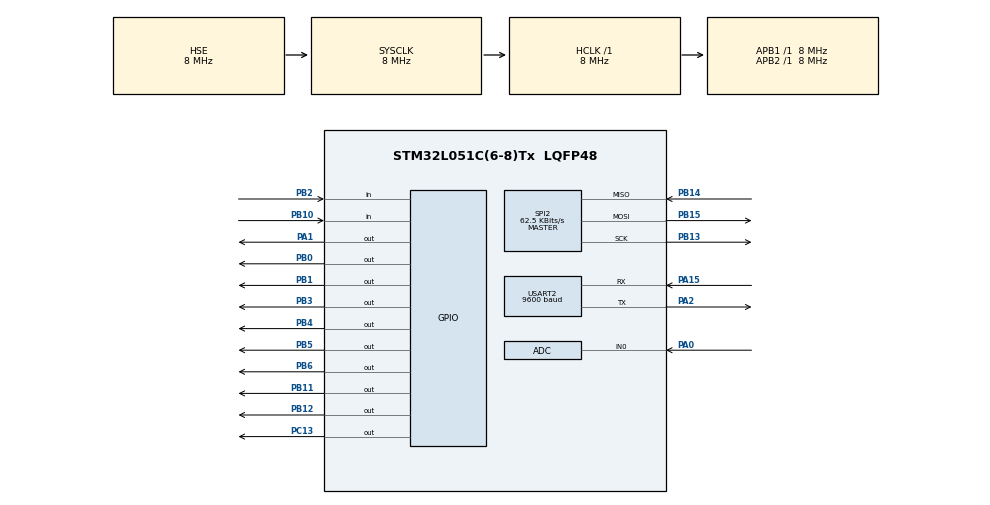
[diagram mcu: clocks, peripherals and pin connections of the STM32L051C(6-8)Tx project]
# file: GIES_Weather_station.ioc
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ADC.ContinuousConvMode=ENABLE
ADC.LowPowerAutoPowerOff=ENABLE
ADC.Overrun=ADC_OVR_DATA_OVERWRITTEN
ADC.SamplingTime=ADC_SAMPLETIME_79CYCLES_5
IWDG.Prescaler=IWDG_PRESCALER_256
IWDG.Reload=4095
Mcu.Family=STM32L0
Mcu.Name=STM32L051C(6-8)Tx
Mcu.Package=LQFP48
NVIC.RTC_IRQn=true\:0\:0\:true\:true\:true\:1\:true
NVIC.SPI2_IRQn=true\:0\:0\:true\:false\:true\:true
NVIC.USART2_IRQn=true\:0\:0\:false\:true\:true\:2\:true
PA0.Mode=IN0
PA0.Signal=ADC_IN0
PA1.PinState=GPIO_PIN_RESET
PA1.Signal=GPIO_Output
PA13.Mode=Serial_Wire
PA13.Signal=SYS_SWDIO
PA14.Mode=Serial_Wire
PA14.Signal=SYS_SWCLK
PA15.GPIO_ModeDefaultPP=GPIO_MODE_AF_OD
PA15.Mode=Asynchronous
PA15.Signal=USART2_RX
PA2.Mode=Asynchronous
PA2.Signal=USART2_TX
PB0.PinState=GPIO_PIN_RESET
PB0.Signal=GPIO_Output
PB1.Signal=GPIO_Output
PB10.Signal=GPIO_Input
PB11.PinState=GPIO_PIN_SET
PB11.Signal=GPIO_Output
PB12.PinState=GPIO_PIN_SET
PB12.Signal=GPIO_Output
PB13.Mode=Full_Duplex_Master
PB13.Signal=SPI2_SCK
PB14.Mode=Full_Duplex_Master
PB14.Signal=SPI2_MISO
PB15.Mode=Full_Duplex_Master
PB15.Signal=SPI2_MOSI
PB2.Signal=GPIO_Input
PB3.GPIO_ModeDefaultOutputPP=GPIO_MODE_OUTPUT_OD
PB3.Signal=GPIO_Output
PB4.GPIO_ModeDefaultOutputPP=GPIO_MODE_OUTPUT_OD
PB4.Signal=GPIO_Output
PB5.GPIO_ModeDefaultOutputPP=GPIO_MODE_OUTPUT_OD
PB5.PinState=GPIO_PIN_SET
PB5.Signal=GPIO_Output
PB6.GPIO_FM6=__NULL
PB6.GPIO_ModeDefaultOutputPP=GPIO_MODE_OUTPUT_OD
PB6.PinState=GPIO_PIN_SET
PB6.Signal=GPIO_Output
PC13.Signal=GPIO_Output
PH0-OSC_IN.Mode=HSE-External-Oscillator
PH0-OSC_IN.Signal=RCC_OSC_IN
PH1-OSC_OUT.Mode=HSE-External-Oscillator
PH1-OSC_OUT.Signal=RCC_OSC_OUT
ProjectManager.HeapSize=0x200
ProjectManager.StackSize=0x400
ProjectManager.TargetToolchain=MDK-ARM V5
RCC.ADCFreq_Value=4000000
RCC.AHBFreq_Value=8000000
RCC.APB1Freq_Value=8000000
RCC.APB1TimFreq_Value=8000000
RCC.APB2Freq_Value=8000000
RCC.APB2TimFreq_Value=8000000
RCC.HCLKFreq_Value=8000000
RCC.HSE_VALUE=8000000
RCC.HSI16_VALUE=16000000
RCC.HSIRCDiv=4
RCC.HSI_VALUE=4000000
RCC.MSIClockRange=RCC_MSIRANGE_6
RCC.MSI_VALUE=4194000
RCC.PLLDIV=RCC_PLLDIV_4
RCC.PLLMUL=RCC_PLLMUL_8
RCC.PLLSourceVirtual=RCC_PLLSOURCE_HSE
RCC.PWR_Regulator_Voltage_Scale=PWR_REGULATOR_VOLTAGE_SCALE1
RCC.RTCClockSelection=RCC_RTCCLKSOURCE_LSI
RCC.RTCClockSelectionVirtual=RCC_RTCCLKSOURCE_LSE
RCC.SYSCLKFreq_VALUE=8000000
RCC.SYSCLKSource=RCC_SYSCLKSOURCE_HSE
RCC.Usart2ClockSelection=RCC_USART2CLKSOURCE_SYSCLK
RCC.VCOOutputFreq_Value=64000000
RCC.VDD_VALUE=1.65
RTC.Hours=0
RTC.Minutes=0
RTC.WakeUpClock-WakeUp=RTC_WAKEUPCLOCK_CK_SPRE_16BITS
RTC.WakeUpCounter-WakeUp=20
RTC.WeekDay=RTC_WEEKDAY_FRIDAY
RTC.Year=20
SPI2.BaudRatePrescaler=SPI_BAUDRATEPRESCALER_128
SPI2.CalculateBaudRate=62.5 KBits/s
SPI2.Direction=SPI_DIRECTION_2LINES
SPI2.Mode=SPI_MODE_MASTER
SPI2.VirtualType=VM_MASTER
USART2.BaudRate=9600
USART2.DMADisableonRxErrorParam=ADVFEATURE_DMA_DISABLEONRXERROR
USART2.OverrunDisableParam=ADVFEATURE_OVERRUN_DISABLE
USART2.VirtualMode-Asynchronous=VM_ASYNC
VP_IWDG_VS_IWDG.Mode=IWDG_Activate
VP_RTC_VS_RTC_Activate.Mode=RTC_Enabled
VP_RTC_VS_RTC_Calendar.Mode=RTC_Calendar
VP_RTC_VS_RTC_WakeUp_intern.Mode=WakeUp
board=custom

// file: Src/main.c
/**
  ******************************************************************************
  * @file           : main.c
  * @brief          : Main program body
  ******************************************************************************
  ** This notice applies to any and all portions of this file
  * that are not between comment pairs USER CODE BEGIN and
  * USER CODE END. Other portions of this file, whether
  * inserted by the user or by software development tools
  * are owned by their respective copyright owners.
  *
  * COPYRIGHT(c) 2021 STMicroelectronics
  *
  * Redistribution and use in source and binary forms, with or without modification,
  * are permitted provided that the following conditions are met:
  *   1. Redistributions of source code must retain the above copyright notice,
  *      this list of conditions and the following disclaimer.
  *   2. Redistributions in binary form must reproduce the above copyright notice,
  *      this list of conditions and the following disclaimer in the documentation
  *      and/or other materials provided with the distribution.
  *   3. Neither the name of STMicroelectronics nor the names of its contributors
  *      may be used to endorse or promote products derived from this software
  *      without specific prior written permission.
  *
  * THIS SOFTWARE IS PROVIDED BY THE COPYRIGHT HOLDERS AND CONTRIBUTORS "AS IS"
  * AND ANY EXPRESS OR IMPLIED WARRANTIES, INCLUDING, BUT NOT LIMITED TO, THE
  * IMPLIED WARRANTIES OF MERCHANTABILITY AND FITNESS FOR A PARTICULAR PURPOSE ARE
  * DISCLAIMED. IN NO EVENT SHALL THE COPYRIGHT HOLDER OR CONTRIBUTORS BE LIABLE
  * FOR ANY DIRECT, INDIRECT, INCIDENTAL, SPECIAL, EXEMPLARY, OR CONSEQUENTIAL
  * DAMAGES (INCLUDING, BUT NOT LIMITED TO, PROCUREMENT OF SUBSTITUTE GOODS OR
  * SERVICES; LOSS OF USE, DATA, OR PROFITS; OR BUSINESS INTERRUPTION) HOWEVER
  * CAUSED AND ON ANY THEORY OF LIABILITY, WHETHER IN CONTRACT, STRICT LIABILITY,
  * OR TORT (INCLUDING NEGLIGENCE OR OTHERWISE) ARISING IN ANY WAY OUT OF THE USE
  * OF THIS SOFTWARE, EVEN IF ADVISED OF THE POSSIBILITY OF SUCH DAMAGE.
  *
  ******************************************************************************
  */
#include "main.h"
#include "stm32l0xx_hal.h"
#include "adc.h"
#include "iwdg.h"
#include "rtc.h"
#include "spi.h"
#include "usart.h"
#include "gpio.h"

/* USER CODE BEGIN Includes */
#include "string.h"
//#include "nbiot.h"
//#include "hexstring.h"
#include "stdlib.h"
#include "platform.h"
#include "radio.h"
extern tRadioDriver *Radio;
#define BUFFER_SIZE     32
//static uint16_t BufferSize = BUFFER_SIZE;
tRadioDriver *Radio = NULL;

unsigned char Sensors_data[BUFFER_SIZE];
char msgSend[BUFFER_SIZE*2];
/* USER CODE END Includes */

/* USER CODE BEGIN PV */
/* Private variables ---------------------------------------------------------*/
/*
GIE气象站程序V3版
硬件结构：STM32L051低功耗单片机
BME680气体传感器测量温度、湿度、气压、烟阻
ZPH02粉尘传感器测量PM2.5
VEML6070紫外线传感器测量紫外线
SGP30测量CO2和TVOC含量
SX1278模块通过LoRa发送给室内机存储和上传至中移OneNet平台，硬件上也预留有8266的口，可以直接从户外采集端上传，程序自理
低功耗运作方式：wakeup计时器每15s唤醒一次喂看门狗（28s未喂狗则重启单片机），然后立即进入STOP模式，当过去225个15s唤醒周期后发送一次数据（实测差不多为1小时一次数据）
待机状态整机电流：~4uA
工作状态整机电流：~80mA
此种配置方式搭配串联的两块2.8V 3000F超级电容，3W9V的小太阳能板在持续阴天条件下电压也不会掉。
注：如果在CUBEMX中重新生成代码，注释将全部变成乱码，请提前备份，传感器相关程序在sensors.c文件中
欢迎关注b站up主：GIE工作室，获得超多干货！
Designed by LinZi
GIE Studio 2020-12-12
*/
uint32_t dust25;//PM2.5值
uint16_t uvv;//紫外线值
float tem;//温度值
float hum;//湿度值
float press;//气压值
float gas_r;//烟阻值
float batval;//电池电量
uint32_t voc_level;//voc等级
extern u16 tvoc_ppb, co2_eq_ppm;//CO2、TVOC
uint8_t sleep_counter=0;
uint8_t wakeup_count=0;
RTC_HandleTypeDef RTCHandle;
void SystemPower_Config(void);
void Enter_STOP_mode(void);
int Package_Point=0,succ_flag=0;
int load_float2buffer(float input,unsigned char* buffer_pointer);
void voltage_get(void);
uint32_t user_offset=27000000;
extern void VEML6070_Init(void);
extern void Get_sensors(void);
extern void osDelay(uint16_t time);
extern void bme680_init_user (void);
extern void Get_680(void);
void get_resert_status(void);
/* USER CODE END PV */

void SystemClock_Config(void);
static void MX_NVIC_Init(void);

/* USER CODE BEGIN PFP */
/* Private function prototypes -----------------------------------------------*/

/* USER CODE END PFP */

int main(void)
{

  /* MCU Configuration----------------------------------------------------------*/

  /* Reset of all peripherals, Initializes the Flash interface and the Systick. */
  HAL_Init();

  /* Configure the system clock */
  SystemClock_Config();

  /* Initialize all configured peripherals */
  MX_GPIO_Init();
  MX_SPI2_Init();
  MX_RTC_Init();
  MX_ADC_Init();
  MX_USART2_UART_Init();
  MX_IWDG_Init();

  /* Initialize interrupts */
  MX_NVIC_Init();
  /* USER CODE BEGIN 2 */
		HAL_GPIO_WritePin(GPIOA,GPIO_PIN_1,GPIO_PIN_RESET);
		__PWR_CLK_ENABLE();
	  HAL_RTCEx_DeactivateWakeUpTimer(&hrtc);
		get_resert_status();
		HAL_Delay(2000);//开机等待五秒再打开各种外设，避免从看门狗复位回来后其余外设没有完成重启
		HAL_IWDG_Refresh(&hiwdg);
  while (1)
  {

	HAL_PWREx_EnableUltraLowPower();//使能超低功耗
  HAL_PWREx_EnableFastWakeUp();
  __HAL_RCC_WAKEUPSTOP_CLK_CONFIG(RCC_STOP_WAKEUPCLOCK_HSI);
		HAL_Delay(1000);
	//HAL_UART_Receive_IT(&huart1, (uint8_t *)aRxBuffer1, 1);
	HAL_GPIO_WritePin(GPIOA,GPIO_PIN_1,GPIO_PIN_SET);//打开3.3V稳压开关（TPS63070），为全部传感器以及无线模块供电
	HAL_GPIO_WritePin(GPIOB,GPIO_PIN_0,GPIO_PIN_SET);//打开电平转换芯片开关（TXS0108）
	HAL_Delay(1000);
	HAL_UART_Receive_IT(&huart2, (uint8_t *)aRxBuffer2, 1);
	HAL_IWDG_Refresh(&hiwdg);
	bme680_init_user ();//初始化BME680（调用官方API）
	Get_680();//获取温度、湿度、气压、烟阻数据
	BoardInit( );
	Radio = RadioDriverInit( );
	Radio->Init( );
	sleep_counter=0;
	Package_Point=0;
	succ_flag=0;
	VEML6070_Init();//初始化紫外线传感器
	SGP_Init();
  /* USER CODE END 2 */

  /* Infinite loop */

  /* USER CODE BEGIN 3 */

		Get_sensors();//获取传感器数据
		voltage_get();
		//tem=23.45;hum=56.34;press=101232;gas_r=982;voc_level=1;dust25=1231;uvv=22;//co2_eq_ppm=431;tvoc_ppb=23;//调试用假数据
		Package_Point+=load_float2buffer(tem,Sensors_data+Package_Point);//0-3 温度
		Package_Point+=load_float2buffer(hum,Sensors_data+Package_Point);//4-7 湿度
		Package_Point+=load_float2buffer(press,Sensors_data+Package_Point);//8-11 气压
		Package_Point+=load_float2buffer(gas_r,Sensors_data+Package_Point);//12-15 烟阻
		Sensors_data[Package_Point]=voc_level;//16 VOC等级（来自ZPH02）
		Package_Point++;
		Sensors_data[Package_Point]=dust25>>24;//17-20 PM2.5
		Sensors_data[Package_Point+1]=(dust25&0x00ff0000)>>16;
		Sensors_data[Package_Point+2]=(dust25&0x0000ff00)>>8;
		Sensors_data[Package_Point+3]=(dust25&0x000000ff);
		Package_Point+=4;
		Sensors_data[Package_Point]=uvv>>8;//21-22 紫外线
		Sensors_data[Package_Point+1]=uvv&0x00ff;
		Package_Point+=2;
		Sensors_data[Package_Point]=co2_eq_ppm>>8;//23-24 CO2
		Sensors_data[Package_Point+1]=co2_eq_ppm&0x00ff;
		Sensors_data[Package_Point+2]=tvoc_ppb>>8;//25-26 TVOC
		Sensors_data[Package_Point+3]=tvoc_ppb&0x00ff;
		Package_Point+=4;
		Package_Point+=load_float2buffer(batval,Sensors_data+Package_Point);//27-30 电容电量
		HAL_IWDG_Refresh(&hiwdg);
		Radio->SetTxPacket( Sensors_data, 32 );
		while(1)
		{
			while(Radio->Process( ) == RF_TX_DONE)
			{
				Enter_STOP_mode();//进入STOP低功耗模式
				succ_flag=1;
				//Radio->SetTxPacket( TxBuf, 32 );
			}
			if(succ_flag==1)
			{
				break;
			}
		}

  }
  /* USER CODE END 3 */

}

void SystemClock_Config(void)
{

  RCC_OscInitTypeDef RCC_OscInitStruct;
  RCC_ClkInitTypeDef RCC_ClkInitStruct;
  RCC_PeriphCLKInitTypeDef PeriphClkInit;

    /**Configure the main internal regulator output voltage
    */
  __HAL_PWR_VOLTAGESCALING_CONFIG(PWR_REGULATOR_VOLTAGE_SCALE1);

    /**Initializes the CPU, AHB and APB busses clocks
    */
  RCC_OscInitStruct.OscillatorType = RCC_OSCILLATORTYPE_LSI|RCC_OSCILLATORTYPE_HSE;
  RCC_OscInitStruct.HSEState = RCC_HSE_ON;
  RCC_OscInitStruct.LSIState = RCC_LSI_ON;
  RCC_OscInitStruct.PLL.PLLState = RCC_PLL_NONE;
  if (HAL_RCC_OscConfig(&RCC_OscInitStruct) != HAL_OK)
  {
    _Error_Handler(__FILE__, __LINE__);
  }

    /**Initializes the CPU, AHB and APB busses clocks
    */
  RCC_ClkInitStruct.ClockType = RCC_CLOCKTYPE_HCLK|RCC_CLOCKTYPE_SYSCLK
                              |RCC_CLOCKTYPE_PCLK1|RCC_CLOCKTYPE_PCLK2;
  RCC_ClkInitStruct.SYSCLKSource = RCC_SYSCLKSOURCE_HSE;
  RCC_ClkInitStruct.AHBCLKDivider = RCC_SYSCLK_DIV1;
  RCC_ClkInitStruct.APB1CLKDivider = RCC_HCLK_DIV1;
  RCC_ClkInitStruct.APB2CLKDivider = RCC_HCLK_DIV1;

  if (HAL_RCC_ClockConfig(&RCC_ClkInitStruct, FLASH_LATENCY_0) != HAL_OK)
  {
    _Error_Handler(__FILE__, __LINE__);
  }

  PeriphClkInit.PeriphClockSelection = RCC_PERIPHCLK_USART2|RCC_PERIPHCLK_RTC;
  PeriphClkInit.Usart2ClockSelection = RCC_USART2CLKSOURCE_SYSCLK;
  PeriphClkInit.RTCClockSelection = RCC_RTCCLKSOURCE_LSI;
  if (HAL_RCCEx_PeriphCLKConfig(&PeriphClkInit) != HAL_OK)
  {
    _Error_Handler(__FILE__, __LINE__);
  }

    /**Configure the Systick interrupt time
    */
  HAL_SYSTICK_Config(HAL_RCC_GetHCLKFreq()/1000);

    /**Configure the Systick
    */
  HAL_SYSTICK_CLKSourceConfig(SYSTICK_CLKSOURCE_HCLK);

  /* SysTick_IRQn interrupt configuration */
  HAL_NVIC_SetPriority(SysTick_IRQn, 0, 0);
}

/**
  * @brief NVIC Configuration.
  * @retval None
  */
static void MX_NVIC_Init(void)
{
  /* RTC_IRQn interrupt configuration */
  HAL_NVIC_SetPriority(RTC_IRQn, 0, 0);
  HAL_NVIC_EnableIRQ(RTC_IRQn);
  /* USART2_IRQn interrupt configuration */
  HAL_NVIC_SetPriority(USART2_IRQn, 0, 0);
  HAL_NVIC_EnableIRQ(USART2_IRQn);
}

/* USER CODE BEGIN 4 */
void SystemPower_Config(void)//配置单片机各个外设，使其在低功耗模式下不会耗电
{
  GPIO_InitTypeDef GPIO_InitStructure;

	//HAL_UART_DeInit(&huart1);//关闭串口1
  HAL_UART_DeInit(&huart2);//关闭串口2
	HAL_SPI_DeInit(&hspi2);//关闭SPI
//	__HAL_RCC_DMA1_CLK_DISABLE();
	HAL_GPIO_WritePin(GPIOA,GPIO_PIN_1,GPIO_PIN_RESET);//失能3.3V稳压，断电全部传感器与射频模块
  /* Enable GPIOs clock */
  __HAL_RCC_GPIOA_CLK_ENABLE();
  __HAL_RCC_GPIOB_CLK_ENABLE();
  __HAL_RCC_GPIOC_CLK_ENABLE();
  __HAL_RCC_GPIOD_CLK_ENABLE();
  __HAL_RCC_GPIOH_CLK_ENABLE();

  GPIO_InitStructure.Pin = GPIO_PIN_All;//将全部端口设置为模拟输入模式避免漏电
  GPIO_InitStructure.Mode = GPIO_MODE_ANALOG;
  GPIO_InitStructure.Pull = GPIO_NOPULL;
  HAL_GPIO_Init(GPIOA, &GPIO_InitStructure);
  HAL_GPIO_Init(GPIOB, &GPIO_InitStructure);
  HAL_GPIO_Init(GPIOC, &GPIO_InitStructure);
  HAL_GPIO_Init(GPIOD, &GPIO_InitStructure);
  HAL_GPIO_Init(GPIOH, &GPIO_InitStructure);

//  /* Disable GPIOs clock */
  __HAL_RCC_GPIOA_CLK_DISABLE();//关闭所有GPIO时钟
  __HAL_RCC_GPIOB_CLK_DISABLE();
  __HAL_RCC_GPIOC_CLK_DISABLE();
  __HAL_RCC_GPIOD_CLK_DISABLE();
  __HAL_RCC_GPIOH_CLK_DISABLE();

  /* Configure RTC */
  hrtc.Instance = RTC;//配置RTC计时器

  hrtc.Instance = RTC;
  hrtc.Init.HourFormat = RTC_HOURFORMAT_24;
  hrtc.Init.AsynchPrediv = 127;
  hrtc.Init.SynchPrediv = 255;
  hrtc.Init.OutPut = RTC_OUTPUT_DISABLE;
  hrtc.Init.OutPutRemap = RTC_OUTPUT_REMAP_NONE;
  hrtc.Init.OutPutPolarity = RTC_OUTPUT_POLARITY_HIGH;
  hrtc.Init.OutPutType = RTC_OUTPUT_TYPE_OPENDRAIN;
  if (HAL_RTC_Init(&hrtc) != HAL_OK)
  {
    _Error_Handler(__FILE__, __LINE__);
  }
}
void Enter_STOP_mode(void)//进入STOP待机模式的流程
{
	//	HAL_DBGMCU_EnableDBGStopMode();//启用STOP模式下的调试，打开后系统时钟会持续为调试器提供时钟，可在STOP模式下调试
		SystemPower_Config();//调用睡眠模式前的电源设置
		HAL_IWDG_Refresh(&hiwdg);//喂狗
	while(1)
	{
		HAL_RTCEx_SetWakeUpTimer_IT(&hrtc, 15, RTC_WAKEUPCLOCK_CK_SPRE_16BITS);//设置唤醒计时器为15秒
		HAL_PWR_EnterSTOPMode(PWR_LOWPOWERREGULATOR_ON, PWR_STOPENTRY_WFI);//进入STOP模式（程序将在此暂停，唤醒后从此处继续执行）
		HAL_RTCEx_DeactivateWakeUpTimer(&hrtc);//唤醒后先关闭唤醒计时器
    __HAL_PWR_CLEAR_FLAG(PWR_FLAG_WU);//清除唤醒FLAG避免无法再次睡眠
		HAL_IWDG_Refresh(&hiwdg);//唤醒后喂狗
		wakeup_count++;//唤醒一次则加一次，否则将在while(1)中持续喂狗
		if(wakeup_count>=155)//当唤醒225次后（约1小时）
		{
			wakeup_count=0;
			HAL_RTCEx_DeactivateWakeUpTimer(&hrtc);//关闭唤醒计时器，打断循环
			break;
		}
		HAL_UART_DeInit(&huart2);
	}
		SystemClock_Config();//恢复系统时钟
		MX_GPIO_Init();//初始化各种外设
		//MX_USART1_UART_Init();
		MX_USART2_UART_Init();
		MX_SPI2_Init();
	  MX_NVIC_Init();//然后将继续在main函数的while(1)中执行一遍获取数据与发送
}
int float2int_mem(float *pf)//获取浮点数在内存的原始数据
{
	int n = *(int *)pf;
    return n;
}
int load_float2buffer(float input,unsigned char* buffer_pointer)//将浮点数分成4部分装入u8的数组中
{
    int ttn=0;
    ttn=float2int_mem(&input);
    *buffer_pointer=ttn>>24;
    *(buffer_pointer+1)=(0x00ff0000&ttn)>>16;
    *(buffer_pointer+2)=(0x0000ff00&ttn)>>8;
    *(buffer_pointer+3)= 0x000000ff&ttn;
    return 4;
}
void voltage_get(void)
{
	int time_out=0,adc_raw;
	HAL_ADC_Start(&hadc);
	HAL_ADC_GetValue(&hadc);
	while(HAL_ADC_PollForConversion(&hadc, 0xff)!=HAL_OK)
	{
		time_out++;
		if(time_out>10000)
			return;
	}
	adc_raw=HAL_ADC_GetValue(&hadc);
	batval=((float)adc_raw/65535.0)*1.8*70+0.20;//换算为电压
}
void print_pc(unsigned char inputdata[])//串口打印到电脑
{
	int ixxx=0;
	for(ixxx=0;ixxx<10;ixxx++)
	{
		if(inputdata[ixxx]=='\0')
		{
			break;
		}
	}
	HAL_UART_Transmit(&huart2,inputdata,ixxx,100);
}
void get_resert_status(void)
{
	print_pc("RES_REASON:");
    if( READ_BIT(RCC->CSR, RCC_CSR_FWRSTF) != RESET)
    {
        print_pc("HWREN\n");
    }
    if( READ_BIT(RCC->CSR, RCC_CSR_OBLRSTF) != RESET)
    {
        print_pc("BITPRET\n");
    }
    if( READ_BIT(RCC->CSR, RCC_CSR_PINRSTF) != RESET)
    {
        print_pc("RST_KEY\n");
    }
    if( READ_BIT(RCC->CSR, RCC_CSR_SFTRSTF) != RESET)
    {
        print_pc("SFT\n");
    }
    if( READ_BIT(RCC->CSR, RCC_CSR_IWDGRSTF) != RESET)
    {
        print_pc("IWDG\n");
    }
    if( READ_BIT(RCC->CSR, RCC_CSR_WWDGRSTF) != RESET)
    {
        print_pc("WWDG\n");
    }
    if( READ_BIT(RCC->CSR, RCC_CSR_LPWRRSTF) != RESET)
    {
        print_pc("LPWR\n");
    }
    __HAL_RCC_CLEAR_RESET_FLAGS();
	}
/* USER CODE END 4 */

void _Error_Handler(char *file, int line)
{
  while(1)
  {
  }
}

/************************ (C) COPYRIGHT STMicroelectronics *****END OF FILE****/
